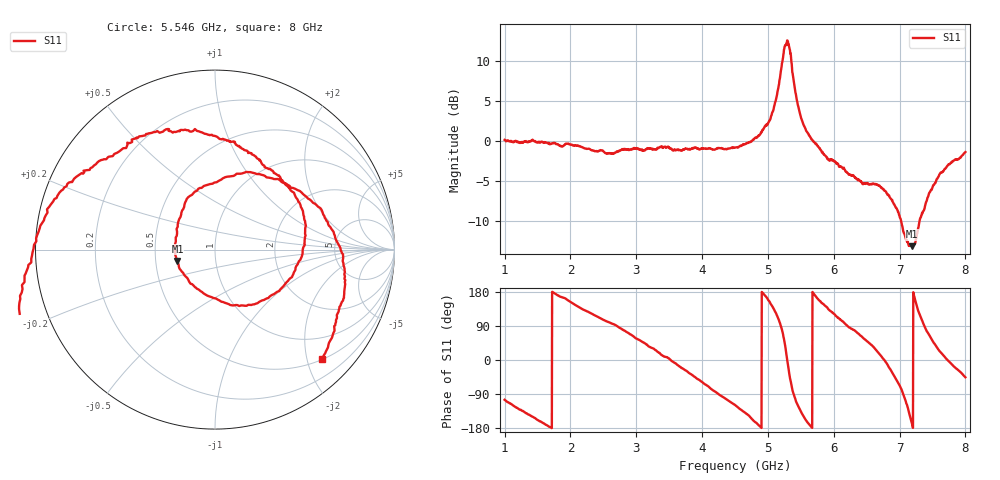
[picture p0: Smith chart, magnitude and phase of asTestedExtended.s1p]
# GHz S MA R 50
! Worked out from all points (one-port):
!   1601 points, 1 GHz to 8 GHz, reference 50 ohm
!   lowest |S11| = -13.2 dB at 7.182 GHz (marker M1), VSWR 1.56, Z = 32.4 - j4.33 ohm
!   |S11| at or under -10 dB: 7.023 GHz to 7.304 GHz (281.4 MHz wide, 3.93 % of centre)
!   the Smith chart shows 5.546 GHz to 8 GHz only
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1  1.017 -104.9
1.4375  1.008 -150.7
1.875  0.9227 165.6
2.75  0.8708 84.6
3.205  0.903 34.4
3.625  0.8846 -12.9
4.0975  0.8993 -70.1
4.5  0.9085 -118.6
4.87625  1.095 -174.4
5.08625  1.585 135.8
5.17375  2.379 101.5
5.22625  3.287 71.1
5.256875  3.92 42.5
5.27875  4.092 17.3
5.29625  4.277 -4.1
5.31375  4.053 -23.2
5.335625  3.708 -48.1
5.375  2.662 -81.4
5.43625  1.82 -113.2
5.55  1.241 -151.1
5.799375  0.8805 154.7
6.25  0.6151 84.6
6.735625  0.5044 6.9
7.125  0.2337 -125.6
7.181875  0.219 -163.1
7.479375  0.4944 56.9
7.7375  0.7077 -1.5
8  0.8526 -45.6
